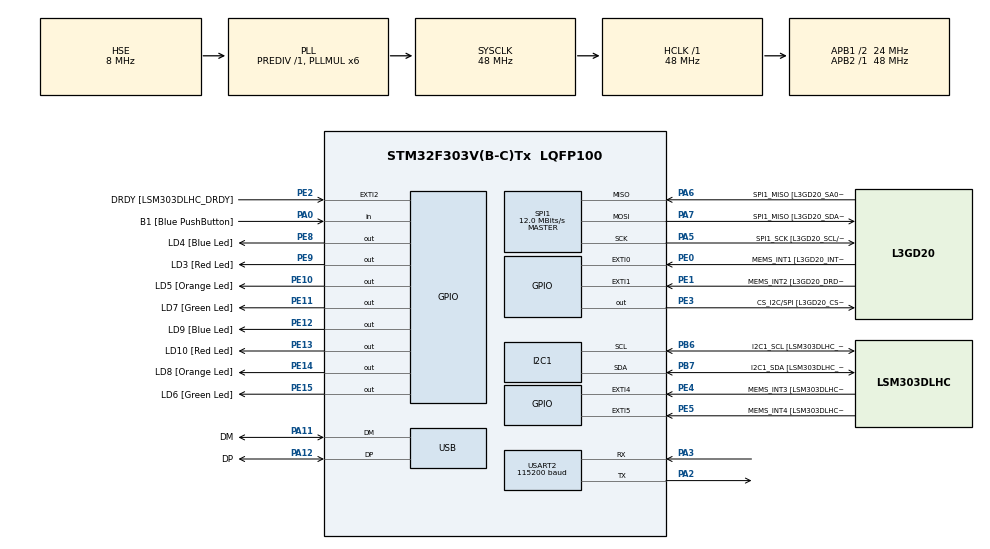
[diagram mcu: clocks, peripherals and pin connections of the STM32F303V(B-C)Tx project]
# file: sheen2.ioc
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I2C1.Timing=0x2000090E
I2C1.Timing-I2C=0x2000090E
Mcu.Family=STM32F3
Mcu.Name=STM32F303V(B-C)Tx
Mcu.Package=LQFP100
NVIC.PriorityGroup=NVIC_PRIORITYGROUP_0
PA0.GPIO_Label=B1 [Blue PushButton]
PA0.Signal=GPIO_Input
PA11.GPIO_Label=DM
PA11.Mode=Device
PA11.Signal=USB_DM
PA12.GPIO_Label=DP
PA12.Mode=Device
PA12.Signal=USB_DP
PA13.GPIO_Label=SWDIO
PA13.Mode=Serial_Wire
PA13.Signal=SYS_JTMS-SWDIO
PA14.GPIO_Label=SWCLK
PA14.Mode=Serial_Wire
PA14.Signal=SYS_JTCK-SWCLK
PA2.Mode=Asynchronous
PA2.Signal=USART2_TX
PA3.Mode=Asynchronous
PA3.Signal=USART2_RX
PA5.GPIO_Label=SPI1_SCK [L3GD20_SCL/SPC]
PA5.Mode=Full_Duplex_Master
PA5.Signal=SPI1_SCK
PA6.GPIO_Label=SPI1_MISO [L3GD20_SA0/SDO]
PA6.Mode=Full_Duplex_Master
PA6.Signal=SPI1_MISO
PA7.GPIO_Label=SPI1_MISO [L3GD20_SDA/SDI/SDO]
PA7.Mode=Full_Duplex_Master
PA7.Signal=SPI1_MOSI
PB3.GPIO_Label=SWO
PB3.Signal=SYS_JTDO-TRACESWO
PB6.GPIO_Label=I2C1_SCL [LSM303DLHC_SCL]
PB6.GPIO_Pu=GPIO_PULLUP
PB6.Mode=I2C
PB6.Signal=I2C1_SCL
PB7.GPIO_Label=I2C1_SDA [LSM303DLHC_SDA]
PB7.GPIO_Pu=GPIO_PULLUP
PB7.Mode=I2C
PB7.Signal=I2C1_SDA
PC14-OSC32_IN.GPIO_Label=OSC32_IN
PC14-OSC32_IN.Signal=RCC_OSC32_IN
PC15-OSC32_OUT.GPIO_Label=OSC32_OUT
PC15-OSC32_OUT.Signal=RCC_OSC32_OUT
PE0.GPIO_Label=MEMS_INT1 [L3GD20_INT1]
PE0.GPIO_ModeDefaultEXTI=GPIO_MODE_EVT_RISING
PE0.Signal=GPXTI0
PE1.GPIO_Label=MEMS_INT2 [L3GD20_DRDY/INT2]
PE1.GPIO_ModeDefaultEXTI=GPIO_MODE_EVT_RISING
PE1.Signal=GPXTI1
PE10.GPIO_Label=LD5 [Orange Led]
PE10.Signal=GPIO_Output
PE11.GPIO_Label=LD7 [Green Led]
PE11.Signal=GPIO_Output
PE12.GPIO_Label=LD9 [Blue Led]
PE12.Signal=GPIO_Output
PE13.GPIO_Label=LD10 [Red Led]
PE13.Signal=GPIO_Output
PE14.GPIO_Label=LD8 [Orange Led]
PE14.Signal=GPIO_Output
PE15.GPIO_Label=LD6 [Green Led]
PE15.Signal=GPIO_Output
PE2.GPIO_Label=DRDY [LSM303DLHC_DRDY]
PE2.GPIO_ModeDefaultEXTI=GPIO_MODE_EVT_RISING
PE2.Signal=GPXTI2
PE3.GPIO_Label=CS_I2C/SPI [L3GD20_CS_I2C/SPI]
PE3.Signal=GPIO_Output
PE4.GPIO_Label=MEMS_INT3 [LSM303DLHC_INT1]
PE4.GPIO_ModeDefaultEXTI=GPIO_MODE_EVT_RISING
PE4.Signal=GPXTI4
PE5.GPIO_Label=MEMS_INT4 [LSM303DLHC_INT2]
PE5.GPIO_ModeDefaultEXTI=GPIO_MODE_EVT_RISING
PE5.Signal=GPXTI5
PE8.GPIO_Label=LD4 [Blue Led]
PE8.Signal=GPIO_Output
PE9.GPIO_Label=LD3 [Red Led]
PE9.Signal=GPIO_Output
PF0-OSC_IN.GPIO_Label=OSC_IN
PF0-OSC_IN.Mode=HSE-External-Clock-Source
PF0-OSC_IN.Signal=RCC_OSC_IN
PF1-OSC_OUT.GPIO_Label=OSC_OUT
PF1-OSC_OUT.Signal=RCC_OSC_OUT
ProjectManager.HeapSize=0x200
ProjectManager.StackSize=0x400
ProjectManager.TargetToolchain=CMake
RCC.AHBFreq_Value=48000000
RCC.APB1CLKDivider=RCC_HCLK_DIV2
RCC.APB1Freq_Value=24000000
RCC.APB1TimFreq_Value=48000000
RCC.APB2Freq_Value=48000000
RCC.APB2TimFreq_Value=48000000
RCC.CortexFreq_Value=48000000
RCC.HCLKFreq_Value=48000000
RCC.HSE_VALUE=8000000
RCC.HSI_VALUE=8000000
RCC.LSE_VALUE=32768
RCC.PLLMUL=RCC_PLL_MUL6
RCC.SYSCLKFreq_VALUE=48000000
RCC.SYSCLKSourceVirtual=RCC_SYSCLKSOURCE_PLLCLK
RCC.USBFreq_Value=48000000
SPI1.BaudRatePrescaler=SPI_BAUDRATEPRESCALER_4
SPI1.BaudRatePrescaler-Full_Duplex_Master=SPI_BAUDRATEPRESCALER_2
SPI1.CalculateBaudRate=12.0 MBits/s
SPI1.CalculateBaudRate-Full_Duplex_Master=24.0 MBits/s
SPI1.Direction=SPI_DIRECTION_2LINES
SPI1.Mode=SPI_MODE_MASTER
SPI1.Mode-Full_Duplex_Master=SPI_MODE_MASTER
SPI1.VirtualType=VM_MASTER
USART2.BaudRate=115200
USART2.VirtualMode-Asynchronous=VM_ASYNC
board=STM32F3DISCOVERY

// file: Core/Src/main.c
/* USER CODE BEGIN Header */
/**
  ******************************************************************************
  * @file           : main.c
  * @brief          : Main program body
  ******************************************************************************
  * @attention
  *
  * Copyright (c) 2025 STMicroelectronics.
  * All rights reserved.
  *
  * This software is licensed under terms that can be found in the LICENSE file
  * in the root directory of this software component.
  * If no LICENSE file comes with this software, it is provided AS-IS.
  *
  ******************************************************************************
  */
/* USER CODE END Header */
#include "main.h"

/* USER CODE BEGIN Includes */
#include "string.h"     //for strlen
#include "my_printf.h"//custom printf header
/* USER CODE END Includes */

I2C_HandleTypeDef hi2c1;

SPI_HandleTypeDef hspi1;

UART_HandleTypeDef huart2;

PCD_HandleTypeDef hpcd_USB_FS;

void SystemClock_Config(void);
static void MX_GPIO_Init(void);
static void MX_I2C1_Init(void);
static void MX_SPI1_Init(void);
static void MX_USART2_UART_Init(void);
static void MX_USB_PCD_Init(void);

int main(void)
{

  /* MCU Configuration--------------------------------------------------------*/

  /* Reset of all peripherals, Initializes the Flash interface and the Systick. */
  HAL_Init();

  /* Configure the system clock */
  SystemClock_Config();

  /* Initialize all configured peripherals */
  MX_GPIO_Init();
  MX_I2C1_Init();
  MX_SPI1_Init();
  MX_USART2_UART_Init();
  MX_USB_PCD_Init();

  /* Infinite loop */
  /* USER CODE BEGIN WHILE */

  // int x = 42;
  // float y = 3.14f;
  while (1)
  {
    /* USER CODE END WHILE */
    // myPrintf("Value of x=%d, y=%.2f\r\n", x, y); // task1
    // HAL_Delay(1000); //task 1 and 2

    /* USER CODE BEGIN 3 */
      //task 3
char str[] = "Microcontrollers";
int key = 8774;
int len = strlen(str);

myPrintf("Original: %s\r\n", str);

myPrintf("Encrypted (ASCII): ");
for (int i = 0; i < len; i++) {
unsigned char ch = str[i] + (key % 256);
myPrintf("%d ", ch);
str[i] = ch;

}
myPrintf("\r\n");

for (int i = 0; i < len; i++) {
str[i] = str[i] - (key % 256);

}

myPrintf("Decrypted: %s\r\n", str);

HAL_Delay(500);

}

  }
  /* USER CODE END 3 */

void SystemClock_Config(void)
{
  RCC_OscInitTypeDef RCC_OscInitStruct = {0};
  RCC_ClkInitTypeDef RCC_ClkInitStruct = {0};
  RCC_PeriphCLKInitTypeDef PeriphClkInit = {0};

  /** Initializes the RCC Oscillators according to the specified parameters
  * in the RCC_OscInitTypeDef structure.
  */
  RCC_OscInitStruct.OscillatorType = RCC_OSCILLATORTYPE_HSI|RCC_OSCILLATORTYPE_HSE;
  RCC_OscInitStruct.HSEState = RCC_HSE_BYPASS;
  RCC_OscInitStruct.HSEPredivValue = RCC_HSE_PREDIV_DIV1;
  RCC_OscInitStruct.HSIState = RCC_HSI_ON;
  RCC_OscInitStruct.HSICalibrationValue = RCC_HSICALIBRATION_DEFAULT;
  RCC_OscInitStruct.PLL.PLLState = RCC_PLL_ON;
  RCC_OscInitStruct.PLL.PLLSource = RCC_PLLSOURCE_HSE;
  RCC_OscInitStruct.PLL.PLLMUL = RCC_PLL_MUL6;
  if (HAL_RCC_OscConfig(&RCC_OscInitStruct) != HAL_OK)
  {
    Error_Handler();
  }

  /** Initializes the CPU, AHB and APB buses clocks
  */
  RCC_ClkInitStruct.ClockType = RCC_CLOCKTYPE_HCLK|RCC_CLOCKTYPE_SYSCLK
                              |RCC_CLOCKTYPE_PCLK1|RCC_CLOCKTYPE_PCLK2;
  RCC_ClkInitStruct.SYSCLKSource = RCC_SYSCLKSOURCE_PLLCLK;
  RCC_ClkInitStruct.AHBCLKDivider = RCC_SYSCLK_DIV1;
  RCC_ClkInitStruct.APB1CLKDivider = RCC_HCLK_DIV2;
  RCC_ClkInitStruct.APB2CLKDivider = RCC_HCLK_DIV1;

  if (HAL_RCC_ClockConfig(&RCC_ClkInitStruct, FLASH_LATENCY_1) != HAL_OK)
  {
    Error_Handler();
  }
  PeriphClkInit.PeriphClockSelection = RCC_PERIPHCLK_USB|RCC_PERIPHCLK_USART2
                              |RCC_PERIPHCLK_I2C1;
  PeriphClkInit.Usart2ClockSelection = RCC_USART2CLKSOURCE_PCLK1;
  PeriphClkInit.I2c1ClockSelection = RCC_I2C1CLKSOURCE_HSI;
  PeriphClkInit.USBClockSelection = RCC_USBCLKSOURCE_PLL;
  if (HAL_RCCEx_PeriphCLKConfig(&PeriphClkInit) != HAL_OK)
  {
    Error_Handler();
  }
}

static void MX_I2C1_Init(void)
{

  hi2c1.Instance = I2C1;
  hi2c1.Init.Timing = 0x2000090E;
  hi2c1.Init.OwnAddress1 = 0;
  hi2c1.Init.AddressingMode = I2C_ADDRESSINGMODE_7BIT;
  hi2c1.Init.DualAddressMode = I2C_DUALADDRESS_DISABLE;
  hi2c1.Init.OwnAddress2 = 0;
  hi2c1.Init.OwnAddress2Masks = I2C_OA2_NOMASK;
  hi2c1.Init.GeneralCallMode = I2C_GENERALCALL_DISABLE;
  hi2c1.Init.NoStretchMode = I2C_NOSTRETCH_DISABLE;
  if (HAL_I2C_Init(&hi2c1) != HAL_OK)
  {
    Error_Handler();
  }

  /** Configure Analogue filter
  */
  if (HAL_I2CEx_ConfigAnalogFilter(&hi2c1, I2C_ANALOGFILTER_ENABLE) != HAL_OK)
  {
    Error_Handler();
  }

  /** Configure Digital filter
  */
  if (HAL_I2CEx_ConfigDigitalFilter(&hi2c1, 0) != HAL_OK)
  {
    Error_Handler();
  }

}

static void MX_SPI1_Init(void)
{

  /* SPI1 parameter configuration*/
  hspi1.Instance = SPI1;
  hspi1.Init.Mode = SPI_MODE_MASTER;
  hspi1.Init.Direction = SPI_DIRECTION_2LINES;
  hspi1.Init.DataSize = SPI_DATASIZE_4BIT;
  hspi1.Init.CLKPolarity = SPI_POLARITY_LOW;
  hspi1.Init.CLKPhase = SPI_PHASE_1EDGE;
  hspi1.Init.NSS = SPI_NSS_SOFT;
  hspi1.Init.BaudRatePrescaler = SPI_BAUDRATEPRESCALER_4;
  hspi1.Init.FirstBit = SPI_FIRSTBIT_MSB;
  hspi1.Init.TIMode = SPI_TIMODE_DISABLE;
  hspi1.Init.CRCCalculation = SPI_CRCCALCULATION_DISABLE;
  hspi1.Init.CRCPolynomial = 7;
  hspi1.Init.CRCLength = SPI_CRC_LENGTH_DATASIZE;
  hspi1.Init.NSSPMode = SPI_NSS_PULSE_ENABLE;
  if (HAL_SPI_Init(&hspi1) != HAL_OK)
  {
    Error_Handler();
  }

}

static void MX_USART2_UART_Init(void)
{

  huart2.Instance = USART2;
  huart2.Init.BaudRate = 115200;
  huart2.Init.WordLength = UART_WORDLENGTH_8B;
  huart2.Init.StopBits = UART_STOPBITS_1;
  huart2.Init.Parity = UART_PARITY_NONE;
  huart2.Init.Mode = UART_MODE_TX_RX;
  huart2.Init.HwFlowCtl = UART_HWCONTROL_NONE;
  huart2.Init.OverSampling = UART_OVERSAMPLING_16;
  huart2.Init.OneBitSampling = UART_ONE_BIT_SAMPLE_DISABLE;
  huart2.AdvancedInit.AdvFeatureInit = UART_ADVFEATURE_NO_INIT;
  if (HAL_UART_Init(&huart2) != HAL_OK)
  {
    Error_Handler();
  }

}

static void MX_USB_PCD_Init(void)
{

  hpcd_USB_FS.Instance = USB;
  hpcd_USB_FS.Init.dev_endpoints = 8;
  hpcd_USB_FS.Init.speed = PCD_SPEED_FULL;
  hpcd_USB_FS.Init.phy_itface = PCD_PHY_EMBEDDED;
  hpcd_USB_FS.Init.low_power_enable = DISABLE;
  hpcd_USB_FS.Init.battery_charging_enable = DISABLE;
  if (HAL_PCD_Init(&hpcd_USB_FS) != HAL_OK)
  {
    Error_Handler();
  }

}

static void MX_GPIO_Init(void)
{
  GPIO_InitTypeDef GPIO_InitStruct = {0};

  /* GPIO Ports Clock Enable */
  __HAL_RCC_GPIOE_CLK_ENABLE();
  __HAL_RCC_GPIOC_CLK_ENABLE();
  __HAL_RCC_GPIOF_CLK_ENABLE();
  __HAL_RCC_GPIOA_CLK_ENABLE();
  __HAL_RCC_GPIOB_CLK_ENABLE();

  /*Configure GPIO pin Output Level */
  HAL_GPIO_WritePin(GPIOE, CS_I2C_SPI_Pin|LD4_Pin|LD3_Pin|LD5_Pin
                          |LD7_Pin|LD9_Pin|LD10_Pin|LD8_Pin
                          |LD6_Pin, GPIO_PIN_RESET);

  /*Configure GPIO pins : DRDY_Pin MEMS_INT3_Pin MEMS_INT4_Pin MEMS_INT1_Pin
                           MEMS_INT2_Pin */
  GPIO_InitStruct.Pin = DRDY_Pin|MEMS_INT3_Pin|MEMS_INT4_Pin|MEMS_INT1_Pin
                          |MEMS_INT2_Pin;
  GPIO_InitStruct.Mode = GPIO_MODE_EVT_RISING;
  GPIO_InitStruct.Pull = GPIO_NOPULL;
  HAL_GPIO_Init(GPIOE, &GPIO_InitStruct);

  /*Configure GPIO pins : CS_I2C_SPI_Pin LD4_Pin LD3_Pin LD5_Pin
                           LD7_Pin LD9_Pin LD10_Pin LD8_Pin
                           LD6_Pin */
  GPIO_InitStruct.Pin = CS_I2C_SPI_Pin|LD4_Pin|LD3_Pin|LD5_Pin
                          |LD7_Pin|LD9_Pin|LD10_Pin|LD8_Pin
                          |LD6_Pin;
  GPIO_InitStruct.Mode = GPIO_MODE_OUTPUT_PP;
  GPIO_InitStruct.Pull = GPIO_NOPULL;
  GPIO_InitStruct.Speed = GPIO_SPEED_FREQ_LOW;
  HAL_GPIO_Init(GPIOE, &GPIO_InitStruct);

  /*Configure GPIO pin : B1_Pin */
  GPIO_InitStruct.Pin = B1_Pin;
  GPIO_InitStruct.Mode = GPIO_MODE_INPUT;
  GPIO_InitStruct.Pull = GPIO_NOPULL;
  HAL_GPIO_Init(B1_GPIO_Port, &GPIO_InitStruct);

}

void Error_Handler(void)
{
  __disable_irq();
  while (1)
  {
  }
}
